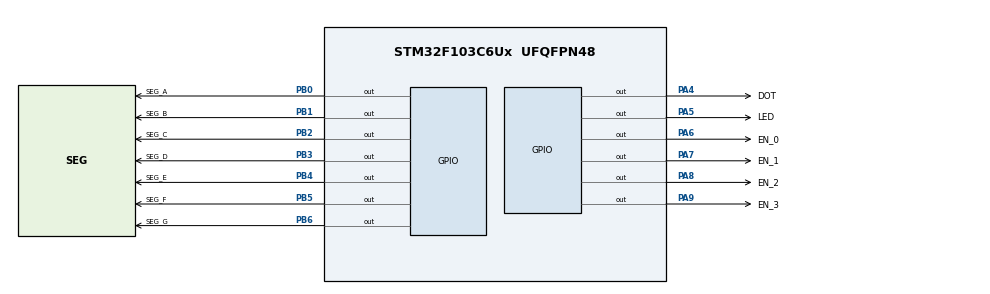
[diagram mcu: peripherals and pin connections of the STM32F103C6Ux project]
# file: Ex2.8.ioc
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Mcu.Family=STM32F1
Mcu.Name=STM32F103C6Ux
Mcu.Package=UFQFPN48
NVIC.PriorityGroup=NVIC_PRIORITYGROUP_4
NVIC.TIM2_IRQn=true\:0\:0\:false\:false\:true\:true\:true
PA4.GPIO_Label=DOT
PA4.Signal=GPIO_Output
PA5.GPIO_Label=LED
PA5.Signal=GPIO_Output
PA6.GPIO_Label=EN_0
PA6.Signal=GPIO_Output
PA7.GPIO_Label=EN_1
PA7.Signal=GPIO_Output
PA8.GPIO_Label=EN_2
PA8.Signal=GPIO_Output
PA9.GPIO_Label=EN_3
PA9.Signal=GPIO_Output
PB0.GPIO_Label=SEG_A
PB0.Signal=GPIO_Output
PB1.GPIO_Label=SEG_B
PB1.Signal=GPIO_Output
PB2.GPIO_Label=SEG_C
PB2.Signal=GPIO_Output
PB3.GPIO_Label=SEG_D
PB3.Signal=GPIO_Output
PB4.GPIO_Label=SEG_E
PB4.Signal=GPIO_Output
PB5.GPIO_Label=SEG_F
PB5.Signal=GPIO_Output
PB6.GPIO_Label=SEG_G
PB6.Signal=GPIO_Output
ProjectManager.HeapSize=0x200
ProjectManager.StackSize=0x400
ProjectManager.TargetToolchain=STM32CubeIDE
RCC.APB1Freq_Value=8000000
RCC.APB2Freq_Value=8000000
TIM2.Prescaler=7999
VP_SYS_VS_ND.Mode=No_Debug
VP_TIM2_VS_ClockSourceINT.Mode=Internal
board=custom

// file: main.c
/* USER CODE BEGIN Header */
/**
 ******************************************************************************
 * @file           : main.c
 * @brief          : Main program body
 ******************************************************************************
 * @attention
 *
 * Copyright (c) 2022 STMicroelectronics.
 * All rights reserved.
 *
 * This software is licensed under terms that can be found in the LICENSE file
 * in the root directory of this software component.
 * If no LICENSE file comes with this software, it is provided AS-IS.
 *
 ******************************************************************************
 */
/* USER CODE END Header */
#include "main.h"

TIM_HandleTypeDef htim2;

void SystemClock_Config(void);
static void MX_GPIO_Init(void);
static void MX_TIM2_Init(void);

/* USER CODE BEGIN 0 */
int timer0_counter = 0;
int timer0_flag = 0;
int timer1_counter = 0;
int timer1_flag = 0;
int TIMER_CYCLE = 10;
void setTimer0(int duration) {
	timer0_counter = duration / TIMER_CYCLE;
	timer0_flag = 0;
}
void setTimer1(int duration) {
	timer1_counter = duration / TIMER_CYCLE;
	timer1_flag = 0;
}
void timer_run() {
	if (timer0_counter > 0) {
		timer0_counter--;
		if (timer0_counter == 0)
			timer0_flag = 1;
	}
	if (timer1_counter > 0) {
		timer1_counter--;
		if (timer1_counter == 0)
			timer1_flag = 1;
	}
}

void display7SEG(int counter) {
	//led display number 0 by enable 6 ports as follow (reset state)
	if (counter == 0) {
		HAL_GPIO_WritePin(SEG_A_GPIO_Port, SEG_A_Pin, RESET);
		HAL_GPIO_WritePin(SEG_B_GPIO_Port, SEG_B_Pin, RESET);
		HAL_GPIO_WritePin(SEG_C_GPIO_Port, SEG_C_Pin, RESET);
		HAL_GPIO_WritePin(SEG_D_GPIO_Port, SEG_D_Pin, RESET);
		HAL_GPIO_WritePin(SEG_E_GPIO_Port, SEG_E_Pin, RESET);
		HAL_GPIO_WritePin(SEG_F_GPIO_Port, SEG_F_Pin, RESET);
		HAL_GPIO_WritePin(SEG_G_GPIO_Port, SEG_G_Pin, SET);
	}
	//led display number 1 by enable 2 ports as follow (reset state)
	if (counter == 1) {
		HAL_GPIO_WritePin(SEG_A_GPIO_Port, SEG_A_Pin, SET);
		HAL_GPIO_WritePin(SEG_B_GPIO_Port, SEG_B_Pin, RESET);
		HAL_GPIO_WritePin(SEG_C_GPIO_Port, SEG_C_Pin, RESET);
		HAL_GPIO_WritePin(SEG_D_GPIO_Port, SEG_D_Pin, SET);
		HAL_GPIO_WritePin(SEG_E_GPIO_Port, SEG_E_Pin, SET);
		HAL_GPIO_WritePin(SEG_F_GPIO_Port, SEG_F_Pin, SET);
		HAL_GPIO_WritePin(SEG_G_GPIO_Port, SEG_G_Pin, SET);
	}
	//led display number 2 by enable 5 ports as follow (reset state)
	if (counter == 2) {
		HAL_GPIO_WritePin(SEG_A_GPIO_Port, SEG_A_Pin, RESET);
		HAL_GPIO_WritePin(SEG_B_GPIO_Port, SEG_B_Pin, RESET);
		HAL_GPIO_WritePin(SEG_C_GPIO_Port, SEG_C_Pin, SET);
		HAL_GPIO_WritePin(SEG_D_GPIO_Port, SEG_D_Pin, RESET);
		HAL_GPIO_WritePin(SEG_E_GPIO_Port, SEG_E_Pin, RESET);
		HAL_GPIO_WritePin(SEG_F_GPIO_Port, SEG_F_Pin, SET);
		HAL_GPIO_WritePin(SEG_G_GPIO_Port, SEG_G_Pin, RESET);
	}
	//led display number 3 by enable 5 ports as follow (reset state)
	if (counter == 3) {
		HAL_GPIO_WritePin(SEG_A_GPIO_Port, SEG_A_Pin, RESET);
		HAL_GPIO_WritePin(SEG_B_GPIO_Port, SEG_B_Pin, RESET);
		HAL_GPIO_WritePin(SEG_C_GPIO_Port, SEG_C_Pin, RESET);
		HAL_GPIO_WritePin(SEG_D_GPIO_Port, SEG_D_Pin, RESET);
		HAL_GPIO_WritePin(SEG_E_GPIO_Port, SEG_E_Pin, SET);
		HAL_GPIO_WritePin(SEG_F_GPIO_Port, SEG_F_Pin, SET);
		HAL_GPIO_WritePin(SEG_G_GPIO_Port, SEG_G_Pin, RESET);
	}
	//led display number 4 by enable 4 ports as follow (reset state)
	if (counter == 4) {
		HAL_GPIO_WritePin(SEG_A_GPIO_Port, SEG_A_Pin, SET);
		HAL_GPIO_WritePin(SEG_B_GPIO_Port, SEG_B_Pin, RESET);
		HAL_GPIO_WritePin(SEG_C_GPIO_Port, SEG_C_Pin, RESET);
		HAL_GPIO_WritePin(SEG_D_GPIO_Port, SEG_D_Pin, SET);
		HAL_GPIO_WritePin(SEG_E_GPIO_Port, SEG_E_Pin, SET);
		HAL_GPIO_WritePin(SEG_F_GPIO_Port, SEG_F_Pin, RESET);
		HAL_GPIO_WritePin(SEG_G_GPIO_Port, SEG_G_Pin, RESET);
	}
	//led display number 5 by enable 5 ports as follow (reset state)
	if (counter == 5) {
		HAL_GPIO_WritePin(SEG_A_GPIO_Port, SEG_A_Pin, RESET);
		HAL_GPIO_WritePin(SEG_B_GPIO_Port, SEG_B_Pin, SET);
		HAL_GPIO_WritePin(SEG_C_GPIO_Port, SEG_C_Pin, RESET);
		HAL_GPIO_WritePin(SEG_D_GPIO_Port, SEG_D_Pin, RESET);
		HAL_GPIO_WritePin(SEG_E_GPIO_Port, SEG_E_Pin, SET);
		HAL_GPIO_WritePin(SEG_F_GPIO_Port, SEG_F_Pin, RESET);
		HAL_GPIO_WritePin(SEG_G_GPIO_Port, SEG_G_Pin, RESET);
	}
	//led display number 6 by enable 6 ports as follow (reset state)
	if (counter == 6) {
		HAL_GPIO_WritePin(SEG_A_GPIO_Port, SEG_A_Pin, RESET);
		HAL_GPIO_WritePin(SEG_B_GPIO_Port, SEG_B_Pin, SET);
		HAL_GPIO_WritePin(SEG_C_GPIO_Port, SEG_C_Pin, RESET);
		HAL_GPIO_WritePin(SEG_D_GPIO_Port, SEG_D_Pin, RESET);
		HAL_GPIO_WritePin(SEG_E_GPIO_Port, SEG_E_Pin, RESET);
		HAL_GPIO_WritePin(SEG_F_GPIO_Port, SEG_F_Pin, RESET);
		HAL_GPIO_WritePin(SEG_G_GPIO_Port, SEG_G_Pin, RESET);
	}
	//led display number 7 by enable 3 ports as follow (reset state)
	if (counter == 7) {
		HAL_GPIO_WritePin(SEG_A_GPIO_Port, SEG_A_Pin, RESET);
		HAL_GPIO_WritePin(SEG_B_GPIO_Port, SEG_B_Pin, RESET);
		HAL_GPIO_WritePin(SEG_C_GPIO_Port, SEG_C_Pin, RESET);
		HAL_GPIO_WritePin(SEG_D_GPIO_Port, SEG_D_Pin, SET);
		HAL_GPIO_WritePin(SEG_E_GPIO_Port, SEG_E_Pin, SET);
		HAL_GPIO_WritePin(SEG_F_GPIO_Port, SEG_F_Pin, SET);
		HAL_GPIO_WritePin(SEG_G_GPIO_Port, SEG_G_Pin, SET);
	}
	//led display number 8 by enable 7 ports as follow (reset state)
	if (counter == 8) {
		HAL_GPIO_WritePin(SEG_A_GPIO_Port, SEG_A_Pin, RESET);
		HAL_GPIO_WritePin(SEG_B_GPIO_Port, SEG_B_Pin, RESET);
		HAL_GPIO_WritePin(SEG_C_GPIO_Port, SEG_C_Pin, RESET);
		HAL_GPIO_WritePin(SEG_D_GPIO_Port, SEG_D_Pin, RESET);
		HAL_GPIO_WritePin(SEG_E_GPIO_Port, SEG_E_Pin, RESET);
		HAL_GPIO_WritePin(SEG_F_GPIO_Port, SEG_F_Pin, RESET);
		HAL_GPIO_WritePin(SEG_G_GPIO_Port, SEG_G_Pin, RESET);
	}
	//led display number 9 by enable 6 ports as follow (reset state)
	if (counter == 9) {
		HAL_GPIO_WritePin(SEG_A_GPIO_Port, SEG_A_Pin, RESET);
		HAL_GPIO_WritePin(SEG_B_GPIO_Port, SEG_B_Pin, RESET);
		HAL_GPIO_WritePin(SEG_C_GPIO_Port, SEG_C_Pin, RESET);
		HAL_GPIO_WritePin(SEG_D_GPIO_Port, SEG_D_Pin, RESET);
		HAL_GPIO_WritePin(SEG_E_GPIO_Port, SEG_E_Pin, SET);
		HAL_GPIO_WritePin(SEG_F_GPIO_Port, SEG_F_Pin, RESET);
		HAL_GPIO_WritePin(SEG_G_GPIO_Port, SEG_G_Pin, RESET);
	}
}
void update7SEG(int index, int data) {
	switch (index) {
	case 0:
		// Display the first 7 SEG with led_buffer [0]
		HAL_GPIO_WritePin(EN_0_GPIO_Port, EN_0_Pin, RESET);
		HAL_GPIO_WritePin(EN_1_GPIO_Port, EN_1_Pin, SET);
		HAL_GPIO_WritePin(EN_2_GPIO_Port, EN_2_Pin, SET);
		HAL_GPIO_WritePin(EN_3_GPIO_Port, EN_3_Pin, SET);
		display7SEG(data);
		break;
	case 1:
		// Display the second 7 SEG with led_buffer [1]
		HAL_GPIO_WritePin(EN_0_GPIO_Port, EN_0_Pin, SET);
		HAL_GPIO_WritePin(EN_1_GPIO_Port, EN_1_Pin, RESET);
		HAL_GPIO_WritePin(EN_2_GPIO_Port, EN_2_Pin, SET);
		HAL_GPIO_WritePin(EN_3_GPIO_Port, EN_3_Pin, SET);
		display7SEG(data);
		break;
	case 2:
		// Display the third 7 SEG with led_buffer [2]
		HAL_GPIO_WritePin(EN_0_GPIO_Port, EN_0_Pin, SET);
		HAL_GPIO_WritePin(EN_1_GPIO_Port, EN_1_Pin, SET);
		HAL_GPIO_WritePin(EN_2_GPIO_Port, EN_2_Pin, RESET);
		HAL_GPIO_WritePin(EN_3_GPIO_Port, EN_3_Pin, SET);
		display7SEG(data);
		break;
	case 3:
		// Display the forth 7 SEG with led_buffer [3]
		HAL_GPIO_WritePin(EN_0_GPIO_Port, EN_0_Pin, SET);
		HAL_GPIO_WritePin(EN_1_GPIO_Port, EN_1_Pin, SET);
		HAL_GPIO_WritePin(EN_2_GPIO_Port, EN_2_Pin, SET);
		HAL_GPIO_WritePin(EN_3_GPIO_Port, EN_3_Pin, RESET);
		display7SEG(data);
		break;
	default:
		break;
	}
}

int time_info[4] = { 0, 0, 0, 0 };
static int led_buffer[4] = { 0, 0, 0, 0 };
int* updateClockBuffer(int hour, int minute) {
	//first led 7seg display hour info
	time_info[0] = hour / 10;
	time_info[1] = hour % 10;
	//display minute same as displaying hour
	time_info[2] = minute / 10;
	time_info[3] = minute % 10;

	return time_info;
}
/* USER CODE END 0 */

int main(void) {

	/* MCU Configuration--------------------------------------------------------*/

	/* Reset of all peripherals, Initializes the Flash interface and the Systick. */
	HAL_Init();

	/* Configure the system clock */
	SystemClock_Config();

	/* Initialize all configured peripherals */
	MX_GPIO_Init();
	MX_TIM2_Init();
	/* USER CODE BEGIN 2 */
	HAL_TIM_Base_Start_IT(&htim2);
	/* USER CODE END 2 */

	/* Infinite loop */
	/* USER CODE BEGIN WHILE */
	//Init time
	int hour = 15, minute = 8, second = 50;
	int index_led = 0;
	int time_index = 0;
	int *buffer;
	setTimer0(1000);
	setTimer1(250);
	while (1) {
		if (timer0_flag == 1) {
			setTimer0(1000);

			second++;
			if (second >= 60) {
				second = 0;
				minute++;
			}
			if (minute >= 60) {
				minute = 0;
				hour++;
			}
			if (hour >= 24) {
				hour = 0;
			}
			//Toggle DOT led
			HAL_GPIO_TogglePin(DOT_GPIO_Port, DOT_Pin);
		}

		if (timer1_flag == 1) {
			setTimer1(250);
			if (index_led >= 4) {
				index_led = 0;
				time_index = 0;
			}
			//call function to update time info
			buffer = updateClockBuffer(hour, minute);
			//update led buffers
			led_buffer[0] = buffer[0];
			led_buffer[1] = buffer[1];
			led_buffer[2] = buffer[2];
			led_buffer[3] = buffer[3];
			update7SEG(index_led++, led_buffer[time_index++]);
		}
	}
	/* USER CODE END WHILE */

}

void SystemClock_Config(void) {
	RCC_OscInitTypeDef RCC_OscInitStruct = { 0 };
	RCC_ClkInitTypeDef RCC_ClkInitStruct = { 0 };

	/** Initializes the RCC Oscillators according to the specified parameters
	 * in the RCC_OscInitTypeDef structure.
	 */
	RCC_OscInitStruct.OscillatorType = RCC_OSCILLATORTYPE_HSI;
	RCC_OscInitStruct.HSIState = RCC_HSI_ON;
	RCC_OscInitStruct.HSICalibrationValue = RCC_HSICALIBRATION_DEFAULT;
	RCC_OscInitStruct.PLL.PLLState = RCC_PLL_NONE;
	if (HAL_RCC_OscConfig(&RCC_OscInitStruct) != HAL_OK) {
		Error_Handler();
	}

	/** Initializes the CPU, AHB and APB buses clocks
	 */
	RCC_ClkInitStruct.ClockType = RCC_CLOCKTYPE_HCLK | RCC_CLOCKTYPE_SYSCLK
			| RCC_CLOCKTYPE_PCLK1 | RCC_CLOCKTYPE_PCLK2;
	RCC_ClkInitStruct.SYSCLKSource = RCC_SYSCLKSOURCE_HSI;
	RCC_ClkInitStruct.AHBCLKDivider = RCC_SYSCLK_DIV1;
	RCC_ClkInitStruct.APB1CLKDivider = RCC_HCLK_DIV1;
	RCC_ClkInitStruct.APB2CLKDivider = RCC_HCLK_DIV1;

	if (HAL_RCC_ClockConfig(&RCC_ClkInitStruct, FLASH_LATENCY_0) != HAL_OK) {
		Error_Handler();
	}
}

static void MX_TIM2_Init(void) {

	TIM_ClockConfigTypeDef sClockSourceConfig = { 0 };
	TIM_MasterConfigTypeDef sMasterConfig = { 0 };

	htim2.Instance = TIM2;
	htim2.Init.Prescaler = 7999;
	htim2.Init.CounterMode = TIM_COUNTERMODE_UP;
	htim2.Init.Period = 10;
	htim2.Init.ClockDivision = TIM_CLOCKDIVISION_DIV1;
	htim2.Init.AutoReloadPreload = TIM_AUTORELOAD_PRELOAD_DISABLE;
	if (HAL_TIM_Base_Init(&htim2) != HAL_OK) {
		Error_Handler();
	}
	sClockSourceConfig.ClockSource = TIM_CLOCKSOURCE_INTERNAL;
	if (HAL_TIM_ConfigClockSource(&htim2, &sClockSourceConfig) != HAL_OK) {
		Error_Handler();
	}
	sMasterConfig.MasterOutputTrigger = TIM_TRGO_RESET;
	sMasterConfig.MasterSlaveMode = TIM_MASTERSLAVEMODE_DISABLE;
	if (HAL_TIMEx_MasterConfigSynchronization(&htim2, &sMasterConfig)
			!= HAL_OK) {
		Error_Handler();
	}

}

static void MX_GPIO_Init(void) {
	GPIO_InitTypeDef GPIO_InitStruct = { 0 };

	/* GPIO Ports Clock Enable */
	__HAL_RCC_GPIOA_CLK_ENABLE();
	__HAL_RCC_GPIOB_CLK_ENABLE();

	/*Configure GPIO pin Output Level */
	HAL_GPIO_WritePin(GPIOA,
	DOT_Pin | LED_Pin | EN_0_Pin | EN_1_Pin | EN_2_Pin | EN_3_Pin,
			GPIO_PIN_RESET);

	/*Configure GPIO pin Output Level */
	HAL_GPIO_WritePin(GPIOB,
			SEG_A_Pin | SEG_B_Pin | SEG_C_Pin | SEG_D_Pin | SEG_E_Pin
					| SEG_F_Pin | SEG_G_Pin, GPIO_PIN_RESET);

	/*Configure GPIO pins : DOT_Pin LED_Pin EN_0_Pin EN_1_Pin
	 EN_2_Pin EN_3_Pin */
	GPIO_InitStruct.Pin = DOT_Pin | LED_Pin | EN_0_Pin | EN_1_Pin | EN_2_Pin
			| EN_3_Pin;
	GPIO_InitStruct.Mode = GPIO_MODE_OUTPUT_PP;
	GPIO_InitStruct.Pull = GPIO_NOPULL;
	GPIO_InitStruct.Speed = GPIO_SPEED_FREQ_LOW;
	HAL_GPIO_Init(GPIOA, &GPIO_InitStruct);

	/*Configure GPIO pins : SEG_A_Pin SEG_B_Pin SEG_C_Pin SEG_D_Pin
	 SEG_E_Pin SEG_F_Pin SEG_G_Pin */
	GPIO_InitStruct.Pin = SEG_A_Pin | SEG_B_Pin | SEG_C_Pin | SEG_D_Pin
			| SEG_E_Pin | SEG_F_Pin | SEG_G_Pin;
	GPIO_InitStruct.Mode = GPIO_MODE_OUTPUT_PP;
	GPIO_InitStruct.Pull = GPIO_NOPULL;
	GPIO_InitStruct.Speed = GPIO_SPEED_FREQ_LOW;
	HAL_GPIO_Init(GPIOB, &GPIO_InitStruct);

}

/* USER CODE BEGIN 4 */
void HAL_TIM_PeriodElapsedCallback(TIM_HandleTypeDef *htim) {
	timer_run();
}
/* USER CODE END 4 */

void Error_Handler(void) {
	__disable_irq();
	while (1) {
	}
}
